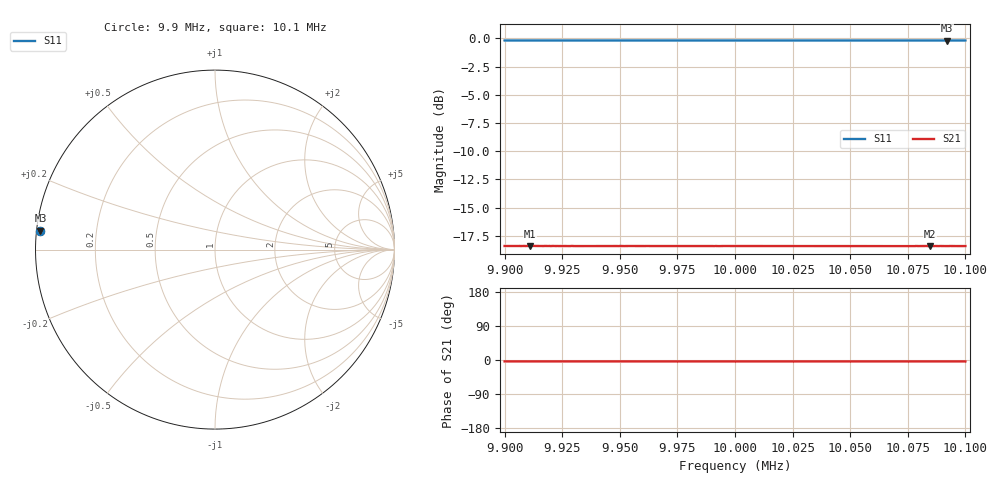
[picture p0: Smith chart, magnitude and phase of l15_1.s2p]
! NanoVNA-App
! Date: 2026-10-13 22:05:17
! Start: 9,9MHz Stop: 10,1MHz Points: 401
! S-Parameter data: F S11 S21 S12 S22
# Hz S RI R 50
!  Frequency  S11_Real  S11_Imag  S21_Real  S21_Imag  S12_Real  S12_Imag  S22_Real  S22_Imag
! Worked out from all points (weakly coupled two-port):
!   401 points, 9.9 MHz to 10.1 MHz, reference 50 ohm
!   highest |S21| = -18.40 dB at 9.911 MHz (marker M1); lowest = -18.4 dB at 10.085 MHz (marker M2)
!   lowest |S11| = -0.2 dB at 10.092 MHz (marker M3), VSWR 92.26, Z = 0.544 + j2.7 ohm
!   |S11| at or under -10 dB: nowhere
!   S12 and S22 are empty: the file has one direction only
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9900000  -0.9734 0.1034  0.1199 -0.00769  0 0  0 0
9911000  -0.9734 0.1036  0.12 -0.00785  0 0  0 0
9914500  -0.9733 0.1036  0.1199 -0.0078  0 0  0 0
9918500  -0.9732 0.1038  0.1199 -0.00783  0 0  0 0
9922500  -0.9732 0.1038  0.1198 -0.00767  0 0  0 0
9933500  -0.9733 0.1039  0.1199 -0.00769  0 0  0 0
9967000  -0.9732 0.1042  0.1199 -0.00784  0 0  0 0
9980500  -0.9732 0.1044  0.1198 -0.00778  0 0  0 0
9982000  -0.9731 0.1044  0.12 -0.00776  0 0  0 0
9992000  -0.9732 0.1044  0.1198 -0.00784  0 0  0 0
1e7  -0.9732 0.1045  0.1199 -0.00781  0 0  0 0
1.00335e7  -0.9731 0.1048  0.1198 -0.00777  0 0  0 0
1.00375e7  -0.9731 0.1049  0.1199 -0.00788  0 0  0 0
1.004e7  -0.973 0.1048  0.1198 -0.00786  0 0  0 0
1.00415e7  -0.9731 0.105  0.1199 -0.00782  0 0  0 0
1.00455e7  -0.9731 0.1049  0.1198 -0.00776  0 0  0 0
1.0048e7  -0.973 0.105  0.1198 -0.00783  0 0  0 0
1.0054e7  -0.973 0.1051  0.1198 -0.00791  0 0  0 0
1.0067e7  -0.973 0.1052  0.1198 -0.00784  0 0  0 0
1.00845e7  -0.9729 0.1053  0.1197 -0.00779  0 0  0 0
1.0092e7  -0.9729 0.1053  0.1198 -0.00788  0 0  0 0
1.01e7  -0.9729 0.1055  0.1198 -0.00789  0 0  0 0
